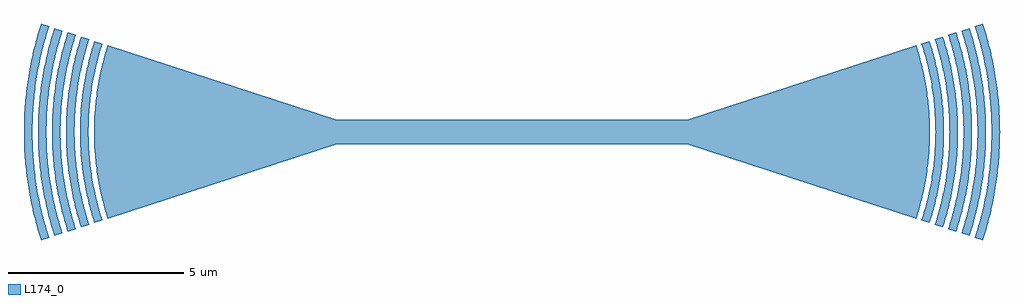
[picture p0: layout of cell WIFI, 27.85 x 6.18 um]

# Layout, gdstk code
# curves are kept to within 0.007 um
import gdstk
lib = gdstk.Library(unit=1e-6, precision=1e-09)
def R(c, l, rs):  # rectangles x0, y0, x1, y1
    for r in rs: c.add(gdstk.rectangle(r[:2], r[2:], *l))
def P(c, l, *ps):  # polygons
    for p in ps: c.add(gdstk.Polygon(p, *l))
L174_0 = (174, 0)

wifi = lib.new_cell('WIFI')
R(wifi, L174_0, [(-1.077,-0.35,8.923,0.35), (-1.077,-0.35,8.923,0.35)])
P(wifi, L174_0, [(-9.511,3.09),(-9.708,2.4),(-9.788,2.05),(-9.87,1.609),(-9.96,0.896),(-9.986,0.538),(-10,0.09),(-9.994,-0.359),(-9.974,-0.717),(-9.942,-1.075),(-9.884,-1.52),(-9.806,-1.962),(-9.729,-2.313),(-9.64,-2.66),(-9.511,-3.09),(-9.282,-3.016),(-9.475,-2.342),(-9.553,-2.001),(-9.633,-1.57),(-9.721,-0.875),(-9.746,-0.525),(-9.76,-0.088),(-9.754,0.35),(-9.735,0.7),(-9.694,1.136),(-9.647,1.484),(-9.553,2.001),(-9.475,2.342),(-9.282,3.016)],
  [(-9.13,2.967),(-9.322,2.294),(-9.417,1.868),(-9.492,1.437),(-9.538,1.09),(-9.578,0.655),(-9.6,0.044),(-9.578,-0.655),(-9.538,-1.09),(-9.492,-1.437),(-9.417,-1.868),(-9.322,-2.294),(-9.13,-2.967),(-8.902,-2.892),(-8.978,-2.648),(-9.109,-2.154),(-9.181,-1.821),(-9.255,-1.401),(-9.332,-0.724),(-9.36,-0.043),(-9.352,0.383),(-9.332,0.724),(-9.255,1.401),(-9.181,1.821),(-9.109,2.154),(-9.047,2.402),(-8.902,2.892)],
  [(-8.75,2.843),(-8.938,2.179),(-9.031,1.758),(-9.09,1.418),(-9.171,0.733),(-9.2,0.043),(-9.192,-0.388),(-9.171,-0.733),(-9.09,-1.418),(-9.031,-1.758),(-8.938,-2.179),(-8.75,-2.843),(-8.521,-2.769),(-8.685,-2.204),(-8.811,-1.629),(-8.899,-1.048),(-8.952,-0.378),(-8.96,0.042),(-8.948,0.462),(-8.917,0.881),(-8.866,1.298),(-8.811,1.629),(-8.725,2.041),(-8.642,2.366),(-8.521,2.769)],
  [(-8.369,2.719),(-8.552,2.075),(-8.685,1.418),(-8.768,0.753),(-8.8,0.084),(-8.794,-0.335),(-8.774,-0.67),(-8.743,-1.003),(-8.698,-1.335),(-8.625,-1.748),(-8.552,-2.075),(-8.369,-2.719),(-8.141,-2.645),(-8.319,-2.018),(-8.435,-1.46),(-8.513,-0.895),(-8.554,-0.326),(-8.56,0.081),(-8.546,0.489),(-8.513,0.895),(-8.473,1.218),(-8.435,1.46),(-8.338,1.939),(-8.258,2.255),(-8.141,2.645)],
  [(-7.989,2.596),(-8.168,1.961),(-8.297,1.314),(-8.374,0.659),(-8.4,0.082),(-8.394,-0.33),(-8.374,-0.659),(-8.297,-1.314),(-8.168,-1.961),(-7.989,-2.596),(-7.761,-2.522),(-7.935,-1.905),(-8.047,-1.356),(-8.121,-0.8),(-8.154,-0.32),(-8.154,0.32),(-8.135,0.64),(-8.094,1.039),(-8.047,1.356),(-7.953,1.827),(-7.854,2.215),(-7.761,2.522)],
  [(-1.077,-0.35),(-1.077,0.35),(-7.608,2.472),(-7.765,1.927),(-7.882,1.371),(-7.967,0.729),(-8,0.081),(-7.98,-0.567),(-7.908,-1.211),(-7.784,-1.848),(-7.608,-2.472)],
  [(17.356,-3.09),(17.461,-2.747),(17.575,-2.313),(17.715,-1.609),(17.778,-1.164),(17.813,-0.807),(17.836,-0.449),(17.846,0),(17.836,0.449),(17.813,0.807),(17.778,1.164),(17.715,1.609),(17.575,2.313),(17.461,2.747),(17.356,3.09),(17.128,3.016),(17.254,2.597),(17.341,2.257),(17.479,1.57),(17.529,1.223),(17.574,0.788),(17.596,0.438),(17.606,0),(17.596,-0.438),(17.574,-0.788),(17.529,-1.223),(17.479,-1.57),(17.341,-2.257),(17.254,-2.597),(17.128,-3.016)],
  [(16.976,-2.967),(17.078,-2.632),(17.188,-2.209),(17.324,-1.523),(17.41,-0.829),(17.434,-0.481),(17.446,-0.044),(17.438,0.393),(17.417,0.742),(17.373,1.177),(17.324,1.523),(17.188,2.209),(17.078,2.632),(16.976,2.967),(16.748,2.892),(16.87,2.484),(16.974,2.071),(17.087,1.485),(17.171,0.809),(17.198,0.383),(17.206,0.043),(17.198,-0.383),(17.178,-0.724),(17.135,-1.148),(17.087,-1.485),(16.974,-2.071),(16.87,-2.484),(16.748,-2.892)],
  [(16.595,-2.843),(16.784,-2.179),(16.876,-1.758),(16.936,-1.418),(16.992,-0.99),(17.023,-0.647),(17.046,-0.043),(17.023,0.647),(16.992,0.99),(16.936,1.418),(16.876,1.758),(16.784,2.179),(16.595,2.843),(16.367,2.769),(16.551,2.122),(16.671,1.547),(16.754,0.964),(16.798,0.378),(16.806,0.042),(16.798,-0.378),(16.77,-0.797),(16.723,-1.215),(16.671,-1.547),(16.589,-1.959),(16.488,-2.366),(16.367,-2.769)],
  [(16.215,-2.719),(16.398,-2.075),(16.531,-1.418),(16.588,-1.003),(16.62,-0.67),(16.646,0),(16.62,0.67),(16.588,1.003),(16.531,1.418),(16.398,2.075),(16.215,2.719),(15.987,2.645),(16.145,2.097),(16.266,1.54),(16.35,0.976),(16.396,0.407),(16.406,0),(16.396,-0.407),(16.367,-0.814),(16.33,-1.137),(16.266,-1.54),(16.183,-1.939),(16.103,-2.255),(15.987,-2.645)],
  [(15.834,-2.596),(16.014,-1.961),(16.1,-1.558),(16.155,-1.233),(16.22,-0.659),(16.246,0),(16.22,0.659),(16.155,1.233),(16.1,1.558),(16.014,1.961),(15.834,2.596),(15.606,2.522),(15.761,1.983),(15.879,1.434),(15.958,0.88),(15.996,0.4),(16.006,0),(15.996,-0.4),(15.974,-0.72),(15.929,-1.118),(15.816,-1.749),(15.721,-2.138),(15.606,-2.522)],
  [(15.479,-2.395),(15.648,-1.769),(15.741,-1.291),(15.787,-0.97),(15.826,-0.567),(15.846,0),(15.826,0.567),(15.787,0.97),(15.741,1.291),(15.61,1.927),(15.454,2.472),(8.923,0.35),(8.923,-0.35),(15.454,-2.472)])

lib.write_gds('WIFI.gds')
